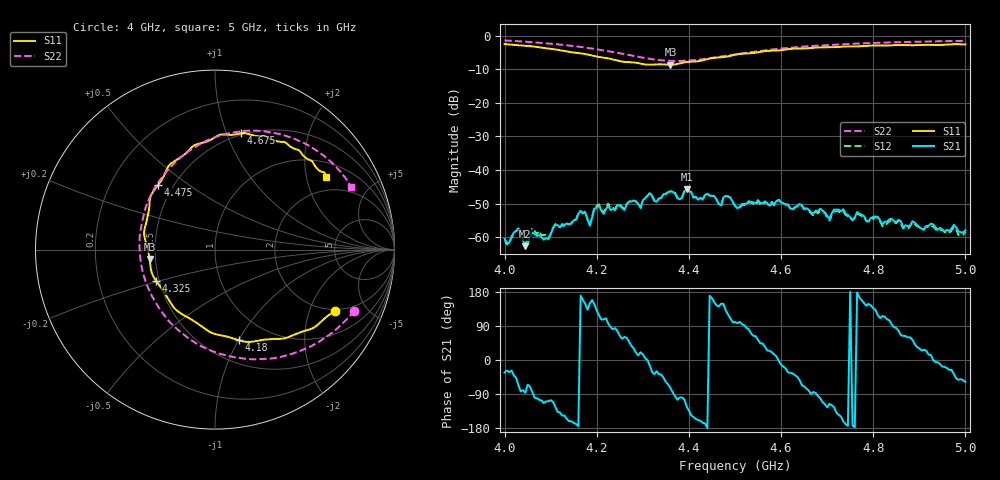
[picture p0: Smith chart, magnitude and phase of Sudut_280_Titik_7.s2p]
# Hz S RI R 50
! CMT, C1220, 16058040, 17.2.0/1
! Date: 15/08/2018 12:05:07
! Data: Format (Calibration Info)
! Freq  S11: Re/Im (F2)  S21: Re/Im (F2)  S12: Re/Im (F2)  S22: Re/Im (F2)
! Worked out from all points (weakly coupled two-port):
!   201 points, 4 GHz to 5 GHz, reference 50 ohm
!   highest |S21| = -45.73 dB at 4.395 GHz (marker M1); lowest = -62.7 dB at 4.045 GHz (marker M2)
!   lowest |S11| = -8.7 dB at 4.36 GHz (marker M3), VSWR 2.17, Z = 23.2 - j2.79 ohm
!   |S11| at or under -10 dB: nowhere
!   |S22| runs from -7.6 to -1.4 dB; largest |S21 - S12| = 0.00024
!   S11 on the Smith chart (normalised r, x): 4 GHz: 1.91, -2.99; 4.18 GHz: 0.72, -1.00; 4.325 GHz: 0.48, -0.20; 4.475 GHz: 0.41, +0.38; 4.675 GHz: 0.48, +1.12; 5 GHz: 1.46, +2.63
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4e9  0.666 -0.3435  0.00079 -0.00051  0.000761 -0.000491  0.7765 -0.3393
4.03e9  0.6036 -0.3897  0.000536 -0.00125  0.000625 -0.00119  0.7186 -0.4032
4.045e9  0.5691 -0.4215  4.49e-05 -0.000733  0.000183 -0.000778  0.6862 -0.4348
4.06e9  0.534 -0.4423  0.000118 -0.00116  0.000197 -0.00134  0.6507 -0.4646
4.095e9  0.4268 -0.4803  -0.000301 -0.000883  -0.000405 -0.000883  0.5552 -0.5278
4.17e9  0.1649 -0.5129  -0.0021 0.000836  -0.00214 0.000749  0.2831 -0.6087
4.18e9  0.1334 -0.5051  -0.00125 0.00135  -0.00137 0.00122  0.241 -0.6107
4.185e9  0.1169 -0.5002  -0.00128 0.000746  -0.00135 0.000703  0.2189 -0.6116
4.205e9  0.0412 -0.4794  -0.0014 0.00261  -0.00157 0.00268  0.1311 -0.6031
4.325e9  -0.3269 -0.1761  0.00274 -0.00209  0.00283 -0.00204  -0.3366 -0.2847
4.335e9  -0.3463 -0.1438  0.00297 -0.00229  0.00302 -0.0023  -0.3609 -0.2391
4.36e9  -0.3645 -0.052  0.0013 -0.00461  0.00135 -0.00465  -0.4044 -0.1174
4.38e9  -0.384 0.0377  -0.000574 -0.00362  -0.000673 -0.00368  -0.4185 -0.02
4.395e9  -0.395 0.0877  -0.00277 -0.00436  -0.00288 -0.00437  -0.4205 0.0542
4.47e9  -0.3302 0.342  -0.00253 0.00154  -0.00244 0.0016  -0.317 0.3727
4.475e9  -0.3183 0.3587  -0.00336 0.0021  -0.00333 0.00217  -0.3054 0.389
4.5e9  -0.2696 0.4442  -0.000529 0.00291  -0.000433 0.00289  -0.2421 0.4656
4.595e9  -0.0502 0.6003  0.0036 -0.000134  0.00359 -0.000104  0.0296 0.6368
4.67e9  0.1317 0.6456  0.000216 -0.00224  0.000144 -0.00212  0.2379 0.6621
4.675e9  0.1421 0.6482  0.000136 -0.00248  3.06e-05 -0.00239  0.2507 0.6613
4.835e9  0.4369 0.5644  -0.000465 0.00179  -0.000455 0.00167  0.5712 0.548
5e9  0.62 0.4054  0.000682 -0.00107  0.000692 -0.000982  0.7583 0.3512
